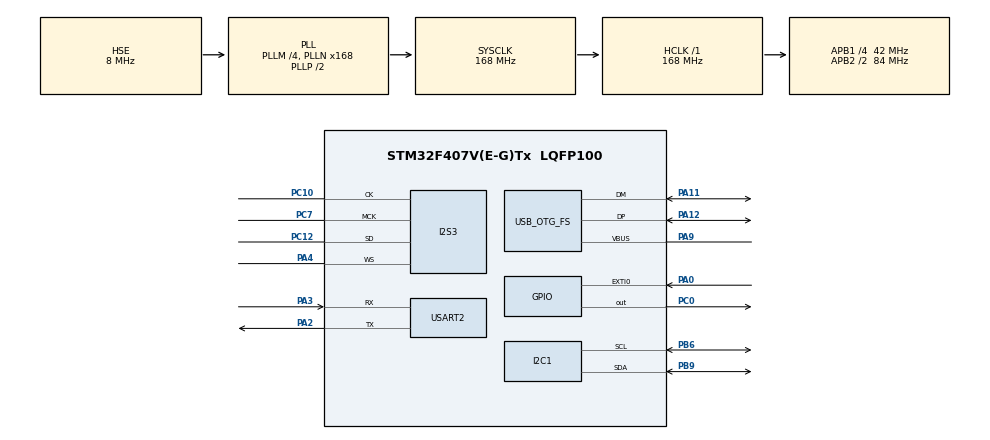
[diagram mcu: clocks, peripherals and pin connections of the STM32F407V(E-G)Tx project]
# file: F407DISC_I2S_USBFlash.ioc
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Dma.Request0=SPI3_TX
Dma.SPI3_TX.0.Direction=DMA_MEMORY_TO_PERIPH
Dma.SPI3_TX.0.FIFOMode=DMA_FIFOMODE_ENABLE
Dma.SPI3_TX.0.FIFOThreshold=DMA_FIFO_THRESHOLD_FULL
Dma.SPI3_TX.0.Instance=DMA1_Stream5
Dma.SPI3_TX.0.MemBurst=DMA_MBURST_SINGLE
Dma.SPI3_TX.0.MemDataAlignment=DMA_MDATAALIGN_HALFWORD
Dma.SPI3_TX.0.MemInc=DMA_MINC_ENABLE
Dma.SPI3_TX.0.Mode=DMA_CIRCULAR
Dma.SPI3_TX.0.PeriphBurst=DMA_PBURST_SINGLE
Dma.SPI3_TX.0.PeriphDataAlignment=DMA_PDATAALIGN_HALFWORD
Dma.SPI3_TX.0.PeriphInc=DMA_PINC_DISABLE
Dma.SPI3_TX.0.Priority=DMA_PRIORITY_LOW
FATFS._FS_EXFAT=1
FATFS._MAX_SS=4096
FATFS._USE_LFN=1
I2C1.I2C_Mode=I2C_Standard
I2S3.AudioFreq=I2S_AUDIOFREQ_192K
I2S3.ErrorAudioFreq=-2.34 %
I2S3.FullDuplexMode=I2S_FULLDUPLEXMODE_DISABLE
I2S3.Instance=SPI$Index
I2S3.RealAudioFreq=187.5 KHz
I2S3.VirtualMode=I2S_MODE_MASTER
Mcu.Family=STM32F4
Mcu.Name=STM32F407V(E-G)Tx
Mcu.Package=LQFP100
NVIC.DMA1_Stream5_IRQn=true\:0\:0\:false\:false\:true\:false\:true\:true
NVIC.EXTI0_IRQn=true\:0\:0\:false\:false\:true\:true\:true\:true
NVIC.OTG_FS_IRQn=true\:0\:0\:false\:false\:true\:false\:true\:true
NVIC.PriorityGroup=NVIC_PRIORITYGROUP_4
PA0-WKUP.Signal=GPXTI0
PA11.Mode=Host_Only
PA11.Signal=USB_OTG_FS_DM
PA12.Mode=Host_Only
PA12.Signal=USB_OTG_FS_DP
PA13.Mode=Serial_Wire
PA13.Signal=SYS_JTMS-SWDIO
PA14.Mode=Serial_Wire
PA14.Signal=SYS_JTCK-SWCLK
PA2.Mode=Asynchronous
PA2.Signal=USART2_TX
PA3.Mode=Asynchronous
PA3.Signal=USART2_RX
PA4.Mode=Half_Duplex_Master
PA4.Signal=I2S3_WS
PA9.Mode=Activate_VBUS
PA9.Signal=USB_OTG_FS_VBUS
PB6.Mode=I2C
PB6.Signal=I2C1_SCL
PB9.Mode=I2C
PB9.Signal=I2C1_SDA
PC0.Signal=GPIO_Output
PC10.Mode=Half_Duplex_Master
PC10.Signal=I2S3_CK
PC12.Mode=Half_Duplex_Master
PC12.Signal=I2S3_SD
PC7.Mode=Master_Clock_Activated
PC7.Signal=I2S3_MCK
PH0-OSC_IN.Mode=HSE-External-Oscillator
PH0-OSC_IN.Signal=RCC_OSC_IN
PH1-OSC_OUT.Mode=HSE-External-Oscillator
PH1-OSC_OUT.Signal=RCC_OSC_OUT
ProjectManager.HeapSize=0x200
ProjectManager.StackSize=0x400
ProjectManager.TargetToolchain=STM32CubeIDE
RCC.48MHZClocksFreq_Value=48000000
RCC.AHBFreq_Value=168000000
RCC.APB1CLKDivider=RCC_HCLK_DIV4
RCC.APB1Freq_Value=42000000
RCC.APB1TimFreq_Value=84000000
RCC.APB2CLKDivider=RCC_HCLK_DIV2
RCC.APB2Freq_Value=84000000
RCC.APB2TimFreq_Value=168000000
RCC.CortexFreq_Value=168000000
RCC.HCLKFreq_Value=168000000
RCC.HSE_VALUE=8000000
RCC.HSI_VALUE=16000000
RCC.LSE_VALUE=32768
RCC.PLLM=4
RCC.PLLN=168
RCC.PLLQ=7
RCC.SYSCLKFreq_VALUE=168000000
RCC.SYSCLKSource=RCC_SYSCLKSOURCE_PLLCLK
RCC.VCOOutputFreq_Value=336000000
USART2.VirtualMode=VM_ASYNC
USB_HOST.BSP.number=1
USB_HOST.USBH_HandleTypeDef-MSC_FS=hUsbHostFS
USB_HOST.VirtualModeFS=Msc
USB_HOST0.BSP.STBoard=false
USB_HOST0.BSP.api=Unknown
USB_HOST0.BSP.condition=SW_VBUS_DRIVE_MSC_FS \= false
USB_HOST0.BSP.instance=PC0
USB_HOST0.BSP.ip=GPIO
USB_HOST0.BSP.mode=Output
USB_HOST0.BSP.name=Drive_VBUS_FS
USB_HOST0.BSP.solution=PC0
USB_OTG_FS.VirtualMode=Host_Only
USB_OTG_FS.phy_itface=HCD_PHY_EMBEDDED
VP_FATFS_VS_USB.Mode=USB
VP_USB_HOST_VS_USB_HOST_MSC_FS.Mode=MSC_FS
board=custom

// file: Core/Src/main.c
/* USER CODE BEGIN Header */
/**
  ******************************************************************************
  * @file           : main.c
  * @brief          : Main program body
  ******************************************************************************
  * @attention
  *
  * Copyright (c) 2025 STMicroelectronics.
  * All rights reserved.
  *
  * This software is licensed under terms that can be found in the LICENSE file
  * in the root directory of this software component.
  * If no LICENSE file comes with this software, it is provided AS-IS.
  *
  ******************************************************************************
  */
/* USER CODE END Header */
#include "main.h"
#include "fatfs.h"
#include "usb_host.h"

/* USER CODE BEGIN Includes */
#include "waveplayer.h"
#include "File_Handling.h"
/* USER CODE END Includes */

I2C_HandleTypeDef hi2c1;

I2S_HandleTypeDef hi2s3;
DMA_HandleTypeDef hdma_spi3_tx;

UART_HandleTypeDef huart2;

void SystemClock_Config(void);
static void MX_GPIO_Init(void);
static void MX_DMA_Init(void);
static void MX_I2C1_Init(void);
static void MX_I2S3_Init(void);
static void MX_USART2_UART_Init(void);
void MX_USB_HOST_Process(void);

/* USER CODE BEGIN 0 */
extern ApplicationTypeDef Appli_state;
extern AUDIO_PLAYBACK_StateTypeDef AudioState;

int IsFinished = 0;

void HAL_GPIO_EXTI_Callback(uint16_t GPIO_Pin)
{
	if (GPIO_Pin == GPIO_PIN_0)
	{
//		AudioState = AUDIO_STATE_NEXT;
		if (AudioState == AUDIO_STATE_PLAY)
		{
			AudioState = AUDIO_STATE_PAUSE;
		}

		if (AudioState == AUDIO_STATE_WAIT)
		{
			AudioState = AUDIO_STATE_RESUME;
		}
	}
}
/* USER CODE END 0 */

int main(void)
{

  /* MCU Configuration--------------------------------------------------------*/

  /* Reset of all peripherals, Initializes the Flash interface and the Systick. */
  HAL_Init();

  /* Configure the system clock */
  SystemClock_Config();

  /* Initialize all configured peripherals */
  MX_GPIO_Init();
  MX_DMA_Init();
  MX_I2C1_Init();
  MX_I2S3_Init();
  MX_USB_HOST_Init();
  MX_FATFS_Init();
  MX_USART2_UART_Init();

  /* Infinite loop */
  while (1)
  {
    MX_USB_HOST_Process();

    /* USER CODE BEGIN 3 */
    if (Appli_state == APPLICATION_READY)
        {
        	Mount_USB();
        	AUDIO_PLAYER_Start(0);

        	while (!IsFinished)
        	{
        		AUDIO_PLAYER_Process(TRUE);

        		if (AudioState == AUDIO_STATE_STOP)
        		{
        			IsFinished = 1;
        		}
        	}
        }
  }
  /* USER CODE END 3 */
}

void SystemClock_Config(void)
{
  RCC_OscInitTypeDef RCC_OscInitStruct = {0};
  RCC_ClkInitTypeDef RCC_ClkInitStruct = {0};

  /** Configure the main internal regulator output voltage
  */
  __HAL_RCC_PWR_CLK_ENABLE();
  __HAL_PWR_VOLTAGESCALING_CONFIG(PWR_REGULATOR_VOLTAGE_SCALE1);

  /** Initializes the RCC Oscillators according to the specified parameters
  * in the RCC_OscInitTypeDef structure.
  */
  RCC_OscInitStruct.OscillatorType = RCC_OSCILLATORTYPE_HSE;
  RCC_OscInitStruct.HSEState = RCC_HSE_ON;
  RCC_OscInitStruct.PLL.PLLState = RCC_PLL_ON;
  RCC_OscInitStruct.PLL.PLLSource = RCC_PLLSOURCE_HSE;
  RCC_OscInitStruct.PLL.PLLM = 4;
  RCC_OscInitStruct.PLL.PLLN = 168;
  RCC_OscInitStruct.PLL.PLLP = RCC_PLLP_DIV2;
  RCC_OscInitStruct.PLL.PLLQ = 7;
  if (HAL_RCC_OscConfig(&RCC_OscInitStruct) != HAL_OK)
  {
    Error_Handler();
  }

  /** Initializes the CPU, AHB and APB buses clocks
  */
  RCC_ClkInitStruct.ClockType = RCC_CLOCKTYPE_HCLK|RCC_CLOCKTYPE_SYSCLK
                              |RCC_CLOCKTYPE_PCLK1|RCC_CLOCKTYPE_PCLK2;
  RCC_ClkInitStruct.SYSCLKSource = RCC_SYSCLKSOURCE_PLLCLK;
  RCC_ClkInitStruct.AHBCLKDivider = RCC_SYSCLK_DIV1;
  RCC_ClkInitStruct.APB1CLKDivider = RCC_HCLK_DIV4;
  RCC_ClkInitStruct.APB2CLKDivider = RCC_HCLK_DIV2;

  if (HAL_RCC_ClockConfig(&RCC_ClkInitStruct, FLASH_LATENCY_5) != HAL_OK)
  {
    Error_Handler();
  }
}

static void MX_I2C1_Init(void)
{

  hi2c1.Instance = I2C1;
  hi2c1.Init.ClockSpeed = 100000;
  hi2c1.Init.DutyCycle = I2C_DUTYCYCLE_2;
  hi2c1.Init.OwnAddress1 = 0;
  hi2c1.Init.AddressingMode = I2C_ADDRESSINGMODE_7BIT;
  hi2c1.Init.DualAddressMode = I2C_DUALADDRESS_DISABLE;
  hi2c1.Init.OwnAddress2 = 0;
  hi2c1.Init.GeneralCallMode = I2C_GENERALCALL_DISABLE;
  hi2c1.Init.NoStretchMode = I2C_NOSTRETCH_DISABLE;
  if (HAL_I2C_Init(&hi2c1) != HAL_OK)
  {
    Error_Handler();
  }

}

static void MX_I2S3_Init(void)
{

  hi2s3.Instance = SPI3;
  hi2s3.Init.Mode = I2S_MODE_MASTER_TX;
  hi2s3.Init.Standard = I2S_STANDARD_PHILIPS;
  hi2s3.Init.DataFormat = I2S_DATAFORMAT_16B;
  hi2s3.Init.MCLKOutput = I2S_MCLKOUTPUT_ENABLE;
  hi2s3.Init.AudioFreq = I2S_AUDIOFREQ_192K;
  hi2s3.Init.CPOL = I2S_CPOL_LOW;
  hi2s3.Init.ClockSource = I2S_CLOCK_PLL;
  hi2s3.Init.FullDuplexMode = I2S_FULLDUPLEXMODE_DISABLE;
  if (HAL_I2S_Init(&hi2s3) != HAL_OK)
  {
    Error_Handler();
  }

}

static void MX_USART2_UART_Init(void)
{

  huart2.Instance = USART2;
  huart2.Init.BaudRate = 115200;
  huart2.Init.WordLength = UART_WORDLENGTH_8B;
  huart2.Init.StopBits = UART_STOPBITS_1;
  huart2.Init.Parity = UART_PARITY_NONE;
  huart2.Init.Mode = UART_MODE_TX_RX;
  huart2.Init.HwFlowCtl = UART_HWCONTROL_NONE;
  huart2.Init.OverSampling = UART_OVERSAMPLING_16;
  if (HAL_UART_Init(&huart2) != HAL_OK)
  {
    Error_Handler();
  }

}

static void MX_DMA_Init(void)
{

  /* DMA controller clock enable */
  __HAL_RCC_DMA1_CLK_ENABLE();

  /* DMA interrupt init */
  /* DMA1_Stream5_IRQn interrupt configuration */
  HAL_NVIC_SetPriority(DMA1_Stream5_IRQn, 0, 0);
  HAL_NVIC_EnableIRQ(DMA1_Stream5_IRQn);

}

static void MX_GPIO_Init(void)
{
  GPIO_InitTypeDef GPIO_InitStruct = {0};

  /* GPIO Ports Clock Enable */
  __HAL_RCC_GPIOH_CLK_ENABLE();
  __HAL_RCC_GPIOC_CLK_ENABLE();
  __HAL_RCC_GPIOA_CLK_ENABLE();
  __HAL_RCC_GPIOB_CLK_ENABLE();

  /*Configure GPIO pin Output Level */
  HAL_GPIO_WritePin(GPIOC, GPIO_PIN_0, GPIO_PIN_RESET);

  /*Configure GPIO pin : PC0 */
  GPIO_InitStruct.Pin = GPIO_PIN_0;
  GPIO_InitStruct.Mode = GPIO_MODE_OUTPUT_PP;
  GPIO_InitStruct.Pull = GPIO_NOPULL;
  GPIO_InitStruct.Speed = GPIO_SPEED_FREQ_LOW;
  HAL_GPIO_Init(GPIOC, &GPIO_InitStruct);

  /*Configure GPIO pin : PA0 */
  GPIO_InitStruct.Pin = GPIO_PIN_0;
  GPIO_InitStruct.Mode = GPIO_MODE_IT_RISING;
  GPIO_InitStruct.Pull = GPIO_NOPULL;
  HAL_GPIO_Init(GPIOA, &GPIO_InitStruct);

  /* EXTI interrupt init*/
  HAL_NVIC_SetPriority(EXTI0_IRQn, 0, 0);
  HAL_NVIC_EnableIRQ(EXTI0_IRQn);

}

void Error_Handler(void)
{
  __disable_irq();
  while (1)
  {
  }
}
